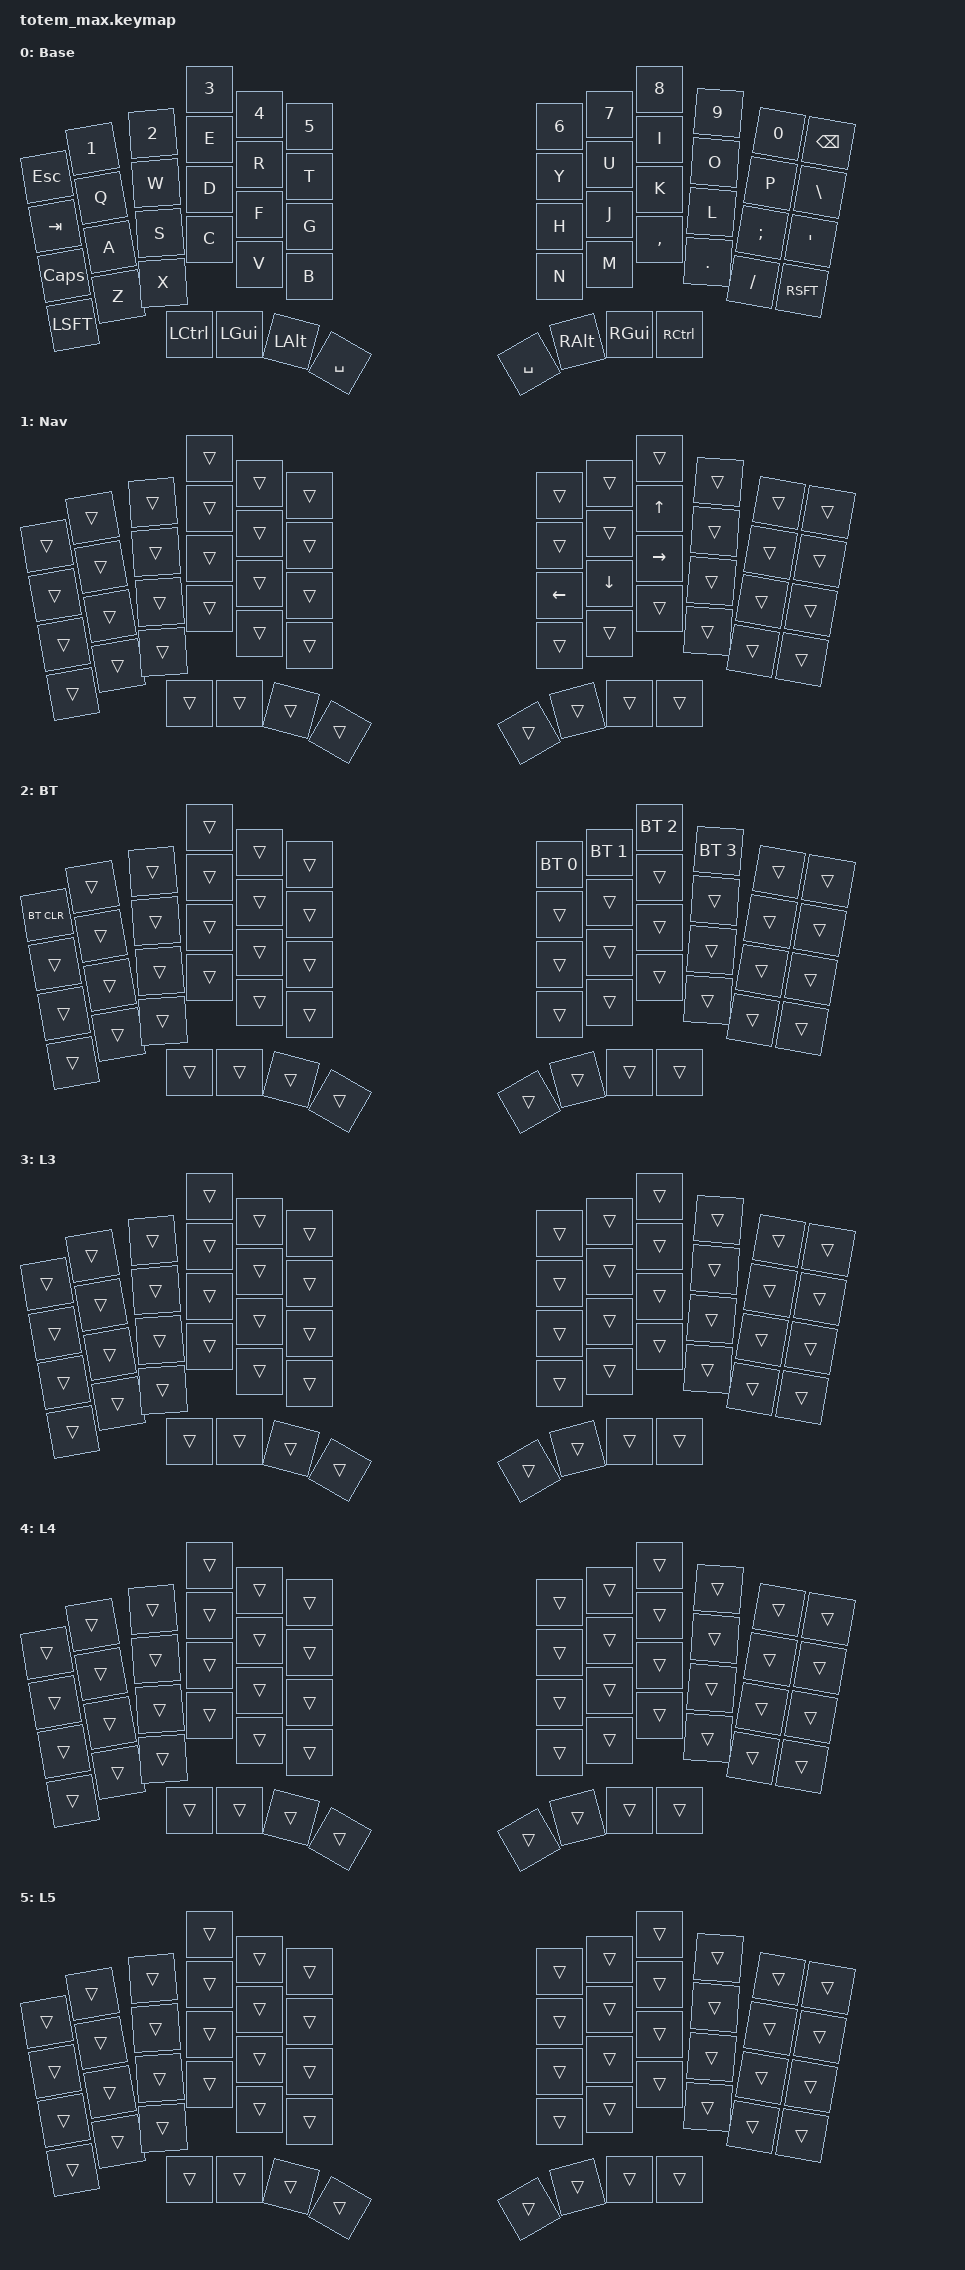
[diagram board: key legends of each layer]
/*
 * Totem Max — default keymap
 *
 * Layer 0: Base (QWERTY)
 * Layer 1: Navigation & media
 * Layers 2-5: Transparent
 */

#include <behaviors.dtsi>
#include <dt-bindings/zmk/keys.h>
#include <dt-bindings/zmk/bt.h>

/ {
    keymap {
        compatible = "zmk,keymap";
        label = "Totem_Max";

        /* ─── Layer 0: Base ─── */
        default_layer {
            display-name = "Base";
            bindings = <
    /* Left half */                              /* Right half */
    &kp ESC   &kp N1 &kp N2 &kp N3 &kp N4 &kp N5    &kp N6 &kp N7 &kp N8 &kp N9 &kp N0 &kp BSPC
    &kp TAB   &kp Q  &kp W  &kp E  &kp R  &kp T     &kp Y  &kp U  &kp I  &kp O  &kp P  &kp BSLH
    &kp CAPS  &kp A  &kp S  &kp D  &kp F  &kp G     &kp H  &kp J  &kp K  &kp L  &kp SEMI &kp QUOT
    &kp LSFT  &kp Z  &kp X  &kp C  &kp V  &kp B     &kp N  &kp M  &kp COMMA &kp DOT &kp FSLH &kp RSFT
               &kp LCTL &kp LGUI &kp LALT &kp SPC   &kp SPC &kp RALT &kp RGUI &kp RCTL
            >;
        };

        /* ─── Layer 1 ─── */
        layer_1 {
            display-name = "Nav";
            bindings = <
    &trans    &trans    &trans    &trans    &trans    &trans      &trans    &trans    &trans    &trans    &trans    &trans
    &trans    &trans    &trans    &trans    &trans    &trans      &trans    &trans    &kp UP    &trans    &trans    &trans
    &trans    &trans    &trans    &trans    &trans    &trans      &kp LEFT  &kp DOWN  &kp RIGHT &trans    &trans    &trans
    &trans    &trans    &trans    &trans    &trans    &trans      &trans    &trans    &trans    &trans    &trans    &trans
               &trans    &trans    &trans    &trans                 &trans    &trans    &trans    &trans
            >;
        };

        /* ─── Layer 2 ─── */
        layer_2 {
            display-name = "BT";
            bindings = <
    &bt BT_CLR  &trans     &trans     &trans     &trans     &trans       &bt BT_SEL 0  &bt BT_SEL 1  &bt BT_SEL 2  &bt BT_SEL 3  &trans      &trans
    &trans      &trans     &trans     &trans     &trans     &trans       &trans        &trans        &trans        &trans        &trans      &trans
    &trans      &trans     &trans     &trans     &trans     &trans       &trans        &trans        &trans        &trans        &trans      &trans
    &trans      &trans     &trans     &trans     &trans     &trans       &trans        &trans        &trans        &trans        &trans      &trans
                &trans     &trans     &trans     &trans                    &trans        &trans        &trans        &trans
            >;
        };

        /* ─── Layer 3 ─── */
        layer_3 {
            display-name = "L3";
            bindings = <
    &trans &trans &trans &trans &trans &trans   &trans &trans &trans &trans &trans &trans
    &trans &trans &trans &trans &trans &trans   &trans &trans &trans &trans &trans &trans
    &trans &trans &trans &trans &trans &trans   &trans &trans &trans &trans &trans &trans
    &trans &trans &trans &trans &trans &trans   &trans &trans &trans &trans &trans &trans
            &trans &trans &trans &trans          &trans &trans &trans &trans
            >;
        };

        /* ─── Layer 4 ─── */
        layer_4 {
            display-name = "L4";
            bindings = <
    &trans &trans &trans &trans &trans &trans   &trans &trans &trans &trans &trans &trans
    &trans &trans &trans &trans &trans &trans   &trans &trans &trans &trans &trans &trans
    &trans &trans &trans &trans &trans &trans   &trans &trans &trans &trans &trans &trans
    &trans &trans &trans &trans &trans &trans   &trans &trans &trans &trans &trans &trans
            &trans &trans &trans &trans          &trans &trans &trans &trans
            >;
        };

        /* ─── Layer 5 ─── */
        layer_5 {
            display-name = "L5";
            bindings = <
    &trans &trans &trans &trans &trans &trans   &trans &trans &trans &trans &trans &trans
    &trans &trans &trans &trans &trans &trans   &trans &trans &trans &trans &trans &trans
    &trans &trans &trans &trans &trans &trans   &trans &trans &trans &trans &trans &trans
    &trans &trans &trans &trans &trans &trans   &trans &trans &trans &trans &trans &trans
            &trans &trans &trans &trans          &trans &trans &trans &trans
            >;
        };
    };
};
